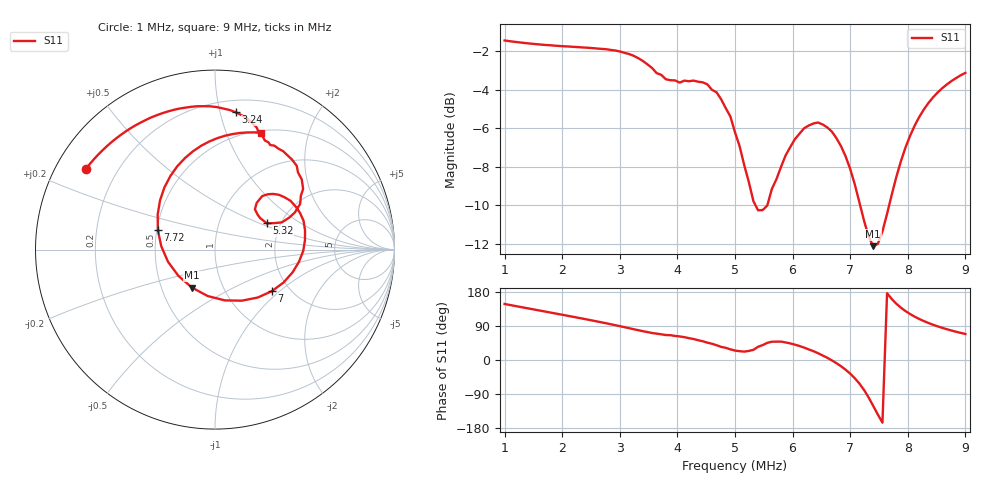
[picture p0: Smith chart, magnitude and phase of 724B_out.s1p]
# Hz S RI R 50
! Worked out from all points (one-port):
!   101 points, 1 MHz to 9 MHz, reference 50 ohm
!   lowest |S11| = -12.1 dB at 7.4 MHz (marker M1), VSWR 1.66, Z = 35.6 - j16.1 ohm
!   |S11| at or under -10 dB: 5.355 MHz to 5.562 MHz (206.4 kHz wide, 3.78 % of centre); 7.172 MHz to 7.677 MHz (504.3 kHz wide, 6.79 % of centre)
!   S11 on the Smith chart (normalised r, x): 1 MHz: 0.09, +0.29; 3.24 MHz: 0.29, +1.12; 5.32 MHz: 1.70, +0.55; 7 MHz: 1.63, -0.89; 7.72 MHz: 0.51, +0.12; 9 MHz: 0.52, +1.33
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1000000  -0.7181 0.4513
2040000  -0.388 0.7211
2520000  -0.2005 0.7852
3000000  0.00936 0.7941
3240000  0.1175 0.7647
3560000  0.2321 0.6808
4040000  0.3071 0.5829
4440000  0.429 0.5018
4680000  0.4834 0.391
5000000  0.444 0.2059
5160000  0.3724 0.1517
5320000  0.289 0.1462
5560000  0.2223 0.224
5800000  0.2636 0.2984
6040000  0.3571 0.305
6360000  0.4733 0.205
6600000  0.5013 0.053
6840000  0.4322 -0.1269
7000000  0.3178 -0.231
7240000  0.0554 -0.2831
7400000  -0.128 -0.2118
7560000  -0.2616 -0.0682
7720000  -0.3182 0.1083
7880000  -0.3062 0.2747
8040000  -0.2486 0.4099
8200000  -0.1672 0.51
8440000  -0.031 0.6027
9000000  0.2544 0.6506
